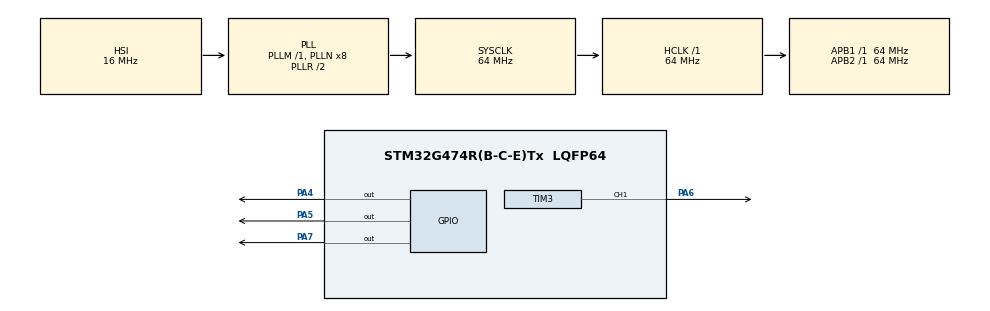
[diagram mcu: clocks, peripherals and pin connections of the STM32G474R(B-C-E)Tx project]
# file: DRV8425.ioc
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Mcu.Family=STM32G4
Mcu.Name=STM32G474R(B-C-E)Tx
Mcu.Package=LQFP64
NVIC.PriorityGroup=NVIC_PRIORITYGROUP_4
PA4.GPIO_Speed=GPIO_SPEED_FREQ_MEDIUM
PA4.Signal=GPIO_Output
PA5.GPIO_Speed=GPIO_SPEED_FREQ_MEDIUM
PA5.Signal=GPIO_Output
PA6.Signal=S_TIM3_CH1
PA7.Signal=GPIO_Output
PF0-OSC_IN.Mode=HSE-External-Oscillator
PF0-OSC_IN.Signal=RCC_OSC_IN
PF1-OSC_OUT.Mode=HSE-External-Oscillator
PF1-OSC_OUT.Signal=RCC_OSC_OUT
ProjectManager.HeapSize=0x200
ProjectManager.StackSize=0x400
ProjectManager.TargetToolchain=STM32CubeIDE
RCC.ADC12Freq_Value=64000000
RCC.ADC345Freq_Value=64000000
RCC.AHBFreq_Value=64000000
RCC.APB1Freq_Value=64000000
RCC.APB1TimFreq_Value=64000000
RCC.APB2Freq_Value=64000000
RCC.APB2TimFreq_Value=64000000
RCC.CortexFreq_Value=64000000
RCC.EXTERNAL_CLOCK_VALUE=12288000
RCC.HCLKFreq_Value=64000000
RCC.HSE_VALUE=8000000
RCC.HSI48_VALUE=48000000
RCC.HSI_VALUE=16000000
RCC.LSE_VALUE=32768
RCC.SYSCLKFreq_VALUE=64000000
RCC.SYSCLKSource=RCC_SYSCLKSOURCE_PLLCLK
RCC.USBFreq_Value=64000000
RCC.VCOOutputFreq_Value=128000000
SH.S_TIM3_CH1.0=TIM3_CH1,PWM Generation1 CH1
TIM3.AutoReloadPreload=TIM_AUTORELOAD_PRELOAD_ENABLE
TIM3.Channel-PWM\ Generation1\ CH1=TIM_CHANNEL_1
TIM3.PeriodNoDither=999
VP_SYS_VS_DBSignals.Mode=DisableDeadBatterySignals
VP_TIM3_VS_ClockSourceINT.Mode=Internal
board=custom

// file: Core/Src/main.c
/* USER CODE BEGIN Header */
/**
  ******************************************************************************
  * @file           : main.c
  * @brief          : Main program body
  ******************************************************************************
  * @attention
  *
  * Copyright (c) 2026 STMicroelectronics.
  * All rights reserved.
  *
  * This software is licensed under terms that can be found in the LICENSE file
  * in the root directory of this software component.
  * If no LICENSE file comes with this software, it is provided AS-IS.
  *
  ******************************************************************************
  */
/* USER CODE END Header */
#include "main.h"

/* USER CODE BEGIN Includes */
#include "DRV8425.h"
#include <stdio.h>
#include <stdint.h>
/* USER CODE END Includes */

TIM_HandleTypeDef htim3;

/* USER CODE BEGIN PV */

// GPIO initialization structs

/* USER CODE END PV */

void SystemClock_Config(void);
static void MX_GPIO_Init(void);
static void MX_TIM3_Init(void);

int main(void)
{

  /* MCU Configuration--------------------------------------------------------*/

  /* Reset of all peripherals, Initializes the Flash interface and the Systick. */
  HAL_Init();

  /* Configure the system clock */
  SystemClock_Config();

  /* Initialize all configured peripherals */
  MX_GPIO_Init();
  MX_TIM3_Init();
  /* USER CODE BEGIN 2 */
  DRV8425_Handle drv1;
  drv1.htim_step = &htim3;
  drv1.htim_channel = TIM_CHANNEL_1;
  drv1.timer_clk_freq = 64000000;
  drv1.dir_pin = GPIO_PIN_5;
  drv1.dir_port = GPIOA;
  drv1.enable_pin = GPIO_PIN_4;
  drv1.enable_port = GPIOA;
  drv1.step_pin = GPIO_PIN_6;
  drv1.step_port = GPIOA;
  DRV8425_Init(&drv1);
  //HAL_GPIO_WritePin(GPIOA, GPIO_PIN_3, GPIO_PIN_SET);
  /* USER CODE END 2 */

  /* Infinite loop */
  /* USER CODE BEGIN WHILE */
  while (1)
  {
	DRV8425_DriveSteps(&drv1, 10000, 2000);
    /* USER CODE END WHILE */

  }
}

void SystemClock_Config(void)
{
  RCC_OscInitTypeDef RCC_OscInitStruct = {0};
  RCC_ClkInitTypeDef RCC_ClkInitStruct = {0};

  /** Configure the main internal regulator output voltage
  */
  HAL_PWREx_ControlVoltageScaling(PWR_REGULATOR_VOLTAGE_SCALE1);

  /** Initializes the RCC Oscillators according to the specified parameters
  * in the RCC_OscInitTypeDef structure.
  */
  RCC_OscInitStruct.OscillatorType = RCC_OSCILLATORTYPE_HSI;
  RCC_OscInitStruct.HSIState = RCC_HSI_ON;
  RCC_OscInitStruct.HSICalibrationValue = RCC_HSICALIBRATION_DEFAULT;
  RCC_OscInitStruct.PLL.PLLState = RCC_PLL_ON;
  RCC_OscInitStruct.PLL.PLLSource = RCC_PLLSOURCE_HSI;
  RCC_OscInitStruct.PLL.PLLM = RCC_PLLM_DIV1;
  RCC_OscInitStruct.PLL.PLLN = 8;
  RCC_OscInitStruct.PLL.PLLP = RCC_PLLP_DIV2;
  RCC_OscInitStruct.PLL.PLLQ = RCC_PLLQ_DIV2;
  RCC_OscInitStruct.PLL.PLLR = RCC_PLLR_DIV2;
  if (HAL_RCC_OscConfig(&RCC_OscInitStruct) != HAL_OK)
  {
    Error_Handler();
  }

  /** Initializes the CPU, AHB and APB buses clocks
  */
  RCC_ClkInitStruct.ClockType = RCC_CLOCKTYPE_HCLK|RCC_CLOCKTYPE_SYSCLK
                              |RCC_CLOCKTYPE_PCLK1|RCC_CLOCKTYPE_PCLK2;
  RCC_ClkInitStruct.SYSCLKSource = RCC_SYSCLKSOURCE_PLLCLK;
  RCC_ClkInitStruct.AHBCLKDivider = RCC_SYSCLK_DIV1;
  RCC_ClkInitStruct.APB1CLKDivider = RCC_HCLK_DIV1;
  RCC_ClkInitStruct.APB2CLKDivider = RCC_HCLK_DIV1;

  if (HAL_RCC_ClockConfig(&RCC_ClkInitStruct, FLASH_LATENCY_2) != HAL_OK)
  {
    Error_Handler();
  }
}

static void MX_TIM3_Init(void)
{

  TIM_ClockConfigTypeDef sClockSourceConfig = {0};
  TIM_MasterConfigTypeDef sMasterConfig = {0};
  TIM_OC_InitTypeDef sConfigOC = {0};

  htim3.Instance = TIM3;
  htim3.Init.Prescaler = 0;
  htim3.Init.CounterMode = TIM_COUNTERMODE_UP;
  htim3.Init.Period = 999;
  htim3.Init.ClockDivision = TIM_CLOCKDIVISION_DIV1;
  htim3.Init.AutoReloadPreload = TIM_AUTORELOAD_PRELOAD_ENABLE;
  if (HAL_TIM_Base_Init(&htim3) != HAL_OK)
  {
    Error_Handler();
  }
  sClockSourceConfig.ClockSource = TIM_CLOCKSOURCE_INTERNAL;
  if (HAL_TIM_ConfigClockSource(&htim3, &sClockSourceConfig) != HAL_OK)
  {
    Error_Handler();
  }
  if (HAL_TIM_PWM_Init(&htim3) != HAL_OK)
  {
    Error_Handler();
  }
  sMasterConfig.MasterOutputTrigger = TIM_TRGO_RESET;
  sMasterConfig.MasterSlaveMode = TIM_MASTERSLAVEMODE_DISABLE;
  if (HAL_TIMEx_MasterConfigSynchronization(&htim3, &sMasterConfig) != HAL_OK)
  {
    Error_Handler();
  }
  sConfigOC.OCMode = TIM_OCMODE_PWM1;
  sConfigOC.Pulse = 0;
  sConfigOC.OCPolarity = TIM_OCPOLARITY_HIGH;
  sConfigOC.OCFastMode = TIM_OCFAST_DISABLE;
  if (HAL_TIM_PWM_ConfigChannel(&htim3, &sConfigOC, TIM_CHANNEL_1) != HAL_OK)
  {
    Error_Handler();
  }
  HAL_TIM_MspPostInit(&htim3);

}

static void MX_GPIO_Init(void)
{
  GPIO_InitTypeDef GPIO_InitStruct = {0};

  /* GPIO Ports Clock Enable */
  __HAL_RCC_GPIOF_CLK_ENABLE();
  __HAL_RCC_GPIOA_CLK_ENABLE();

  /*Configure GPIO pin Output Level */
  HAL_GPIO_WritePin(GPIOA, GPIO_PIN_4|GPIO_PIN_5|GPIO_PIN_7, GPIO_PIN_RESET);

  /*Configure GPIO pins : PA4 PA5 */
  GPIO_InitStruct.Pin = GPIO_PIN_4|GPIO_PIN_5;
  GPIO_InitStruct.Mode = GPIO_MODE_OUTPUT_PP;
  GPIO_InitStruct.Pull = GPIO_NOPULL;
  GPIO_InitStruct.Speed = GPIO_SPEED_FREQ_MEDIUM;
  HAL_GPIO_Init(GPIOA, &GPIO_InitStruct);

  /*Configure GPIO pin : PA7 */
  GPIO_InitStruct.Pin = GPIO_PIN_7;
  GPIO_InitStruct.Mode = GPIO_MODE_OUTPUT_PP;
  GPIO_InitStruct.Pull = GPIO_NOPULL;
  GPIO_InitStruct.Speed = GPIO_SPEED_FREQ_LOW;
  HAL_GPIO_Init(GPIOA, &GPIO_InitStruct);

}

void Error_Handler(void)
{
  __disable_irq();
  while (1)
  {
  }
}
